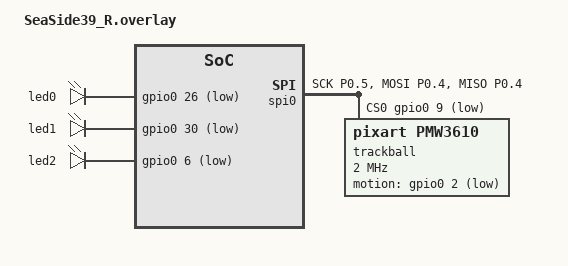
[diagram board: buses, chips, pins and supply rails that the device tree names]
#include "SeaSide39.dtsi"

/* ---- 追加: xiao_ble_zmk.overlay の壊れたモジュールの代替 ---- */
/ {
    aliases {
        led-red = &led0;
        led-green = &led1;
        led-blue = &led2;
    };

    leds {
        compatible = "gpio-leds";
        status = "okay";
        led0: led_0 {
            gpios = <&gpio0 26 GPIO_ACTIVE_LOW>;
        };
        led1: led_1 {
            gpios = <&gpio0 30 GPIO_ACTIVE_LOW>;
        };
        led2: led_2 {
            gpios = <&gpio0 6 GPIO_ACTIVE_LOW>;
        };
    };
};
/* ---- 追加ここまで ---- */

&default_transform {
    col-offset = <6>;
};

&kscan0 {
    col-gpios
        = <&xiao_d 10 GPIO_ACTIVE_HIGH>
        , <&xiao_d 9 GPIO_ACTIVE_HIGH>
        , <&xiao_d 8 GPIO_ACTIVE_HIGH>
        , <&xiao_d 7 GPIO_ACTIVE_HIGH>
        , <&gpio0 10 GPIO_ACTIVE_HIGH>
        ;
};

/* Trackball のリスナー */
/ {
    trackball_listener {
        compatible = "zmk,input-listener";
        device = <&trackball>;
        scroll-layers = <3>;    // ← trackball@0 から ここへ移動
    };
};

/* SPI 設定 */
&pinctrl {
    spi0_default: spi0_default {
        group1 {
            psels = <NRF_PSEL(SPIM_SCK, 0, 5)>,
                <NRF_PSEL(SPIM_MOSI, 0, 4)>,
                <NRF_PSEL(SPIM_MISO, 0, 4)>;
        };
    };
    spi0_sleep: spi0_sleep {
        group1 {
            psels = <NRF_PSEL(SPIM_SCK, 0, 5)>,
                <NRF_PSEL(SPIM_MOSI, 0, 4)>,
                <NRF_PSEL(SPIM_MISO, 0, 4)>;
            low-power-enable;
        };
    };
};

&xiao_serial { status = "disabled"; };

/* SPI デバイス (トラックボール) */
&spi0 {
    status = "okay";
    compatible = "nordic,nrf-spim";
    pinctrl-0 = <&spi0_default>;
    pinctrl-1 = <&spi0_sleep>;
    pinctrl-names = "default", "sleep";
    cs-gpios = <&gpio0 9 GPIO_ACTIVE_LOW>;

    trackball: trackball@0 {
    status = "okay";
    compatible = "pixart,pmw3610";
    reg = <0>;
    spi-max-frequency = <2000000>;
    motion-gpios = <&gpio0 2 (GPIO_ACTIVE_LOW | GPIO_PULL_UP)>;
    zephyr,axis-x = <INPUT_REL_X>;
    zephyr,axis-y = <INPUT_REL_Y>;
    res-cpi = <650>;     // ← 旧 CONFIG_PMW3610_CPI=650
    smart-mode;          // ← 旧 CONFIG_PMW3610_SMART_ALGORITHM=y
    invert-y;            // ← 旧 ORIENTATION_180 + INVERT_X=n の組み合わせ結果
};
